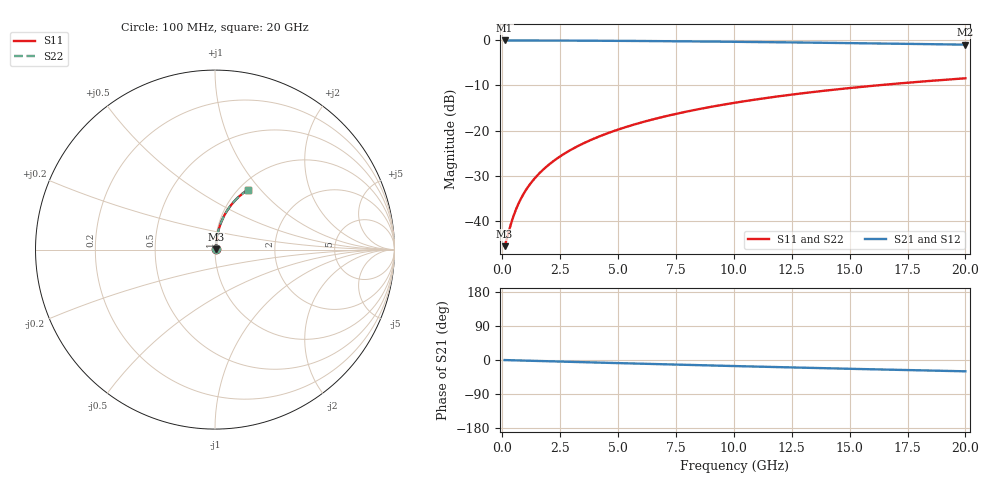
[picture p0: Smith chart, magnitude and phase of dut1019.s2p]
! Touchstone file exported from HFSS 2024.1.0
!  File:  C:/UserFiles/LocalFiles/RDL_TSV_Batchsim/temp_RDL_top_1019_1780043077.aedt
!  Generated:  04:27:36 PM May 29, 2026
!  Design:  RDL_top
!  Project:  temp_RDL_top_1019_1780043077
!  Setup:  Setup1
!  Solution:  Sweep
! Variables:
!  dtsv = 10.80580581um
!  hbump = 3um
!  htsv = 89.97um
!  ldown = 100um
!  lrdl = 340.7um
!  p = 40
!  p1 = 44.68um
!  rhole = 1um
!  t = 450um
!  tdown = 3.915915916um
!  trdl = 2.53um
!  wdown = 15.38538539um
!  wrdl = 10.16um
# GHz S MA R 50.000000
! Terminal data exported
! Port[1] = Box2_T1
! Port[2] = Box2_T2
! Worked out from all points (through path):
!   200 points, 100 MHz to 20 GHz, reference 50 ohm
!   highest |S21| = -0.04 dB at 100 MHz (marker M1); lowest = -1.0 dB at 20 GHz (marker M2)
!   group delay of S21, straight-line fit = 4.15 ps
!   lowest |S11| = -45.6 dB at 100 MHz (marker M3), VSWR 1.01, Z = 50.5 + j0.214 ohm
!   |S11| at or under -10 dB: start of sweep to 16.16 GHz
!   |S22| runs from -45.6 to -8.4 dB; largest |S21 - S12| = 2.7e-15
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0.1  0.005262 23.8  0.9952 -0.2  0.9952 -0.2  0.005262 23.8
! Gamma 0 0 0 0
! Port Impedance 50 0 50 0
0.4  0.00976 59.6  0.995 -0.7  0.995 -0.7  0.009762 59.6
0.5  0.01164 64.5  0.9949 -0.8  0.9949 -0.8  0.01164 64.5
0.6  0.01358 67.9  0.9948 -1.0  0.9948 -1.0  0.01358 67.9
0.7  0.01555 70.4  0.9947 -1.2  0.9947 -1.2  0.01556 70.4
0.9  0.01955 73.8  0.9945 -1.5  0.9945 -1.5  0.01955 73.8
1.2  0.02559 76.7  0.9942 -2.0  0.9942 -2.0  0.0256 76.7
1.4  0.02963 77.9  0.9939 -2.3  0.9939 -2.3  0.02963 77.9
1.7  0.0357 79.1  0.9935 -2.8  0.9935 -2.8  0.0357 79.1
2.2  0.04582 80.2  0.9927 -3.7  0.9927 -3.7  0.04582 80.2
2.8  0.05799 80.7  0.9915 -4.6  0.9915 -4.6  0.05799 80.7
3.5  0.07221 80.8  0.9899 -5.8  0.9899 -5.8  0.07221 80.8
4.2  0.08644 80.6  0.988 -6.9  0.988 -6.9  0.08644 80.5
5  0.1027 80.0  0.9854 -8.2  0.9854 -8.2  0.1027 80.0
5.9  0.121 79.2  0.9821 -9.6  0.9821 -9.6  0.121 79.2
6.8  0.1391 78.3  0.9783 -11.1  0.9783 -11.1  0.1391 78.3
8.3  0.1692 76.5  0.9713 -13.4  0.9713 -13.4  0.1692 76.5
10.1  0.2046 74.3  0.9616 -16.1  0.9616 -16.1  0.2046 74.3
11.7  0.2353 72.2  0.9521 -18.5  0.9521 -18.5  0.2353 72.2
13.4  0.2671 69.9  0.9412 -20.9  0.9412 -20.9  0.267 69.9
16.7  0.3255 65.6  0.9184 -25.5  0.9184 -25.5  0.3254 65.5
20  0.3792 61.3  0.8941 -29.9  0.8941 -29.9  0.3792 61.3
